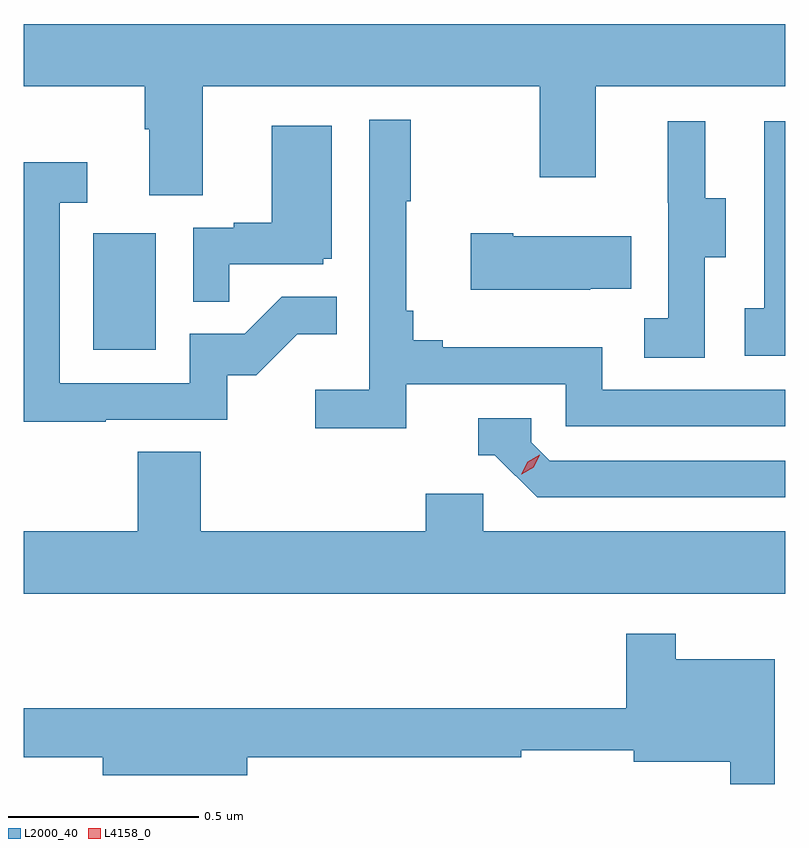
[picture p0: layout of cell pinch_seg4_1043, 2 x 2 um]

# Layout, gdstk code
import gdstk
lib = gdstk.Library(unit=1e-6, precision=1e-09)
def R(c, l, rs):  # rectangles x0, y0, x1, y1
    for r in rs: c.add(gdstk.rectangle(r[:2], r[2:], *l))
def P(c, l, *ps):  # polygons
    for p in ps: c.add(gdstk.Polygon(p, *l))
L2000_40 = (2000, 40)
L4158_0 = (4158, 0)

pinch_seg4_1043 = lib.new_cell('pinch_seg4_1043')
R(pinch_seg4_1043, L2000_40, [(820.442,789.468,820.606,789.775)])
P(pinch_seg4_1043, L2000_40, [(820.259,790.16),(820.577,790.16),(820.577,790.048),(820.589,790.048),(820.589,789.874),(820.729,789.874),(820.729,790.16),(821.614,790.16),(821.614,789.921),(821.761,789.921),(821.761,790.16),(822.259,790.16),(822.259,790.324),(820.259,790.324)],
  [(821.264,789.378),(821.682,789.378),(821.682,789.267),(822.259,789.267),(822.259,789.363),(821.778,789.363),(821.778,789.475),(821.359,789.475),(821.359,789.494),(821.282,789.494),(821.282,789.571),(821.263,789.571),(821.263,789.859),(821.275,789.859),(821.275,790.072),(821.166,790.072),(821.166,789.364),(821.025,789.364),(821.025,789.262),(821.264,789.262)],
  [(822.259,790.069),(822.204,790.069),(822.204,789.578),(822.153,789.578),(822.153,789.453),(822.259,789.453)],
  [(822.048,789.712),(822.103,789.712),(822.103,789.867),(822.049,789.867),(822.049,790.069),(821.951,790.069),(821.951,789.855),(821.952,789.855),(821.952,789.551),(821.889,789.551),(821.889,789.448),(822.048,789.448)],
  [(820.799,789.693),(821.046,789.693),(821.046,789.708),(821.068,789.708),(821.068,790.057),(820.91,790.057),(820.91,789.802),(820.811,789.802),(820.811,789.789),(820.704,789.789),(820.704,789.595),(820.799,789.595)],
  [(820.475,789.285),(820.794,789.285),(820.794,789.402),(820.87,789.402),(820.977,789.509),(821.081,789.509),(821.081,789.608),(820.937,789.608),(820.839,789.51),(820.695,789.51),(820.695,789.381),(820.353,789.381),(820.353,789.855),(820.426,789.855),(820.426,789.961),(820.259,789.961),(820.259,789.28),(820.475,789.28)],
  [(821.747,789.629),(821.855,789.629),(821.855,789.766),(821.545,789.766),(821.545,789.774),(821.433,789.774),(821.433,789.626),(821.747,789.626)],
  [(822.259,789.177),(821.64,789.177),(821.592,789.225),(821.592,789.288),(821.453,789.288),(821.453,789.192),(821.496,789.192),(821.607,789.081),(822.259,789.081)],
  [(822.259,788.992),(821.466,788.992),(821.466,789.09),(821.315,789.09),(821.315,788.992),(820.724,788.992),(820.724,789.2),(820.559,789.2),(820.559,788.992),(820.259,788.992),(820.259,788.828),(822.259,788.828)],
  [(822.232,788.656),(821.971,788.656),(821.971,788.722),(821.842,788.722),(821.842,788.527),(820.259,788.527),(820.259,788.398),(820.466,788.398),(820.466,788.351),(820.846,788.351),(820.846,788.398),(821.565,788.398),(821.565,788.417),(821.861,788.417),(821.861,788.387),(822.115,788.387),(822.115,788.328),(822.232,788.328)])
P(pinch_seg4_1043, L4158_0, [(821.566,789.141),(821.566,789.141),(821.583,789.174),(821.614,789.193),(821.614,789.193),(821.614,789.193),(821.598,789.16),(821.567,789.141)])

lib.write_gds('pinch_seg4_1043.gds')
